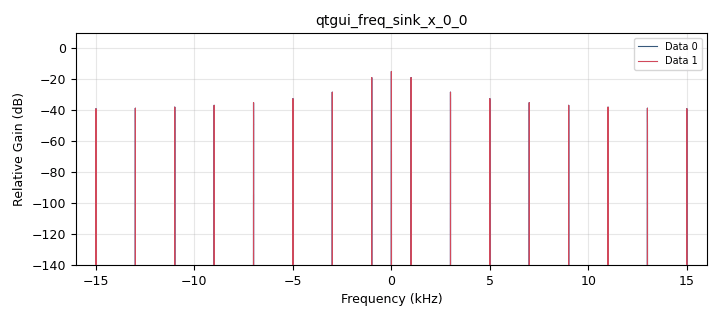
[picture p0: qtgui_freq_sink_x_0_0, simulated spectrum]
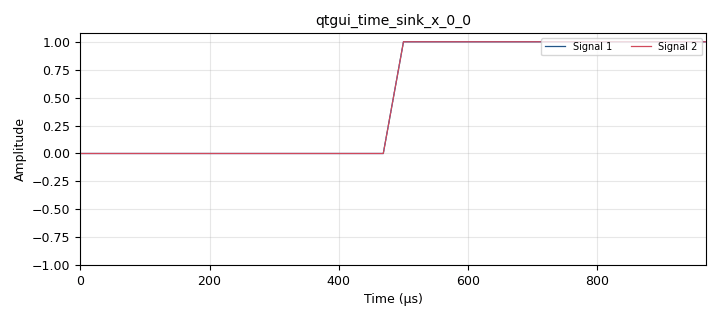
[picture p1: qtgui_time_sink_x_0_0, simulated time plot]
options:
  parameters:
    author: luso
    generate_options: qt_gui
    id: codigo_2
    output_language: python
    title: Not titled yet
  states: {}

blocks:
- name: amplitude
  id: variable_qtgui_entry
  parameters:
    type: real
    value: '0.1'
  states: {}
- name: f_c
  id: variable
  parameters:
    value: '10000'
  states: {}
- name: freq
  id: variable
  parameters:
    value: '1000'
  states: {}
- name: samp_rate
  id: variable
  parameters:
    value: '32000'
  states: {}
- name: analog_sig_source_x_0
  id: analog_sig_source_x
  parameters:
    amp: '1'
    freq: freq
    offset: '0'
    phase: '0'
    samp_rate: samp_rate
    type: float
    waveform: analog.GR_SQR_WAVE
  states: {}
- name: blocks_add_const_vxx_0
  id: blocks_add_const_vxx
  parameters:
    const: 2*c.pi*f_c
    type: float
  states: {state: disabled}
- name: blocks_head_0
  id: blocks_head
  parameters:
    num_items: samp_rate
    type: float
  states: {state: disabled}
- name: blocks_integrate_xx_0
  id: blocks_integrate_xx
  parameters:
    decim: '1'
    type: float
  states: {}
- name: blocks_throttle_0
  id: blocks_throttle
  parameters:
    samples_per_second: samp_rate
    type: float
  states: {state: disabled}
- name: blocks_throttle_0_0
  id: blocks_throttle
  parameters:
    samples_per_second: samp_rate
    type: float
  states: {}
- name: blocks_vco_f_0
  id: blocks_vco_f
  parameters:
    amplitude: '1'
    samp_rate: samp_rate
    sensitivity: 2*c.pi*5*1e3
  states: {state: disabled}
- name: c
  id: epy_module
  parameters:
    source_code: "# this module will be imported in the into your flowgraph\r\n\r\nimport numpy as np\r\n\r\npi = np.pi\r\n"
  states: {}
- name: qtgui_freq_sink_x_0
  id: qtgui_freq_sink_x
  parameters:
    bw: samp_rate
    fc: '0'
    fftsize: '32768'
    type: float
  states: {state: disabled}
- name: qtgui_freq_sink_x_0_0
  id: qtgui_freq_sink_x
  parameters:
    bw: samp_rate
    fc: '0'
    fftsize: '32768'
    nconnections: '2'
    type: float
  states: {}
- name: qtgui_time_sink_x_0
  id: qtgui_time_sink_x
  parameters:
    size: round(samp_rate/freq)
    srate: samp_rate
    type: float
  states: {state: disabled}
- name: qtgui_time_sink_x_0_0
  id: qtgui_time_sink_x
  parameters:
    nconnections: '2'
    size: round(samp_rate/freq)
    srate: samp_rate
    type: float
  states: {}

connections:
- [analog_sig_source_x_0, '0', blocks_throttle_0_0, '0']
- [blocks_add_const_vxx_0, '0', blocks_vco_f_0, '0']
- [blocks_head_0, '0', qtgui_time_sink_x_0, '0']
- [blocks_integrate_xx_0, '0', qtgui_freq_sink_x_0_0, '1']
- [blocks_integrate_xx_0, '0', qtgui_time_sink_x_0_0, '1']
- [blocks_throttle_0, '0', blocks_head_0, '0']
- [blocks_throttle_0_0, '0', blocks_integrate_xx_0, '0']
- [blocks_throttle_0_0, '0', qtgui_freq_sink_x_0_0, '0']
- [blocks_throttle_0_0, '0', qtgui_time_sink_x_0_0, '0']
- [blocks_vco_f_0, '0', blocks_throttle_0, '0']

metadata:
  file_format: 1
  grc_version: 3.10.10.0
